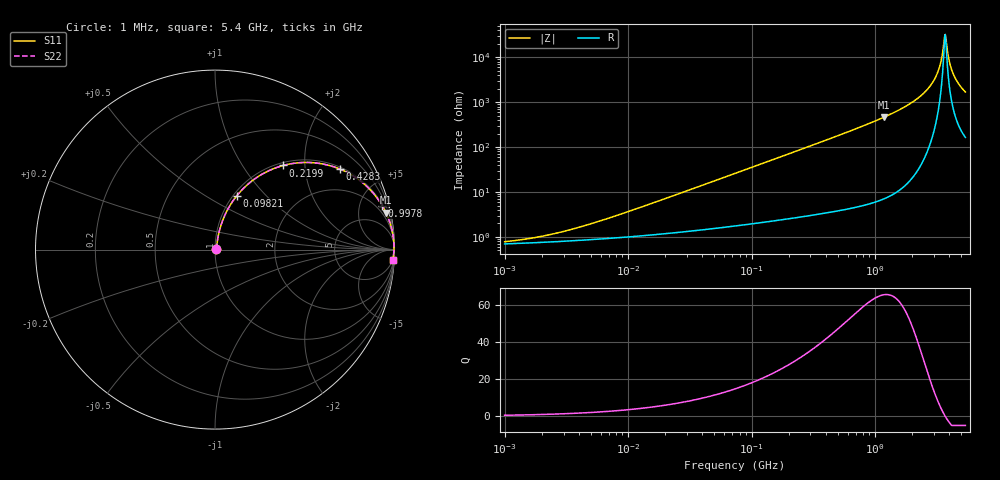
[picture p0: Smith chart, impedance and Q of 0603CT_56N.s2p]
# MHz  S  MA  R  50
!Freq  MagS11  AngS11  MagS21  AngS21  MagS12  AngS12  MagS22  AngS22
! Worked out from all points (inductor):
!   865 points, 1 MHz to 5.4 GHz, reference 50 ohm
!   read as one part in series: L = 56 nH near 8.162 MHz
!   highest Q = 65.8 at 1.182 GHz (marker M1), where L = 62.3 nH
!   self-resonance near 3.674 GHz
!   S11 on the Smith chart (normalised r, x): 1 MHz: 1.01, +0.01; 98.21 MHz: 1.04, +0.69; 219.9 MHz: 1.05, +1.55; 428.3 MHz: 1.07, +3.05; 997.8 MHz: 1.12, +7.57; 5.4 GHz: 4, -34
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1  0.00777 26.5  0.9931 -0.2  0.9931 -0.2  0.00777 26.5
4.190616  0.01685 59.4  0.9915 -0.8  0.9915 -0.8  0.01685 59.4
17.56126  0.06201 76.0  0.9869 -3.5  0.9869 -3.5  0.06201 76.0
73.59249  0.2473 71.8  0.9524 -14.3  0.9524 -14.3  0.2473 71.8
98.20946  0.3218 68.1  0.929 -18.7  0.929 -18.7  0.3218 68.1
219.8794  0.6036 51.0  0.7771 -37.1  0.7771 -37.1  0.6036 51.0
308.3978  0.7278 41.7  0.6658 -46.7  0.6658 -46.7  0.7278 41.7
428.269  0.828 32.8  0.542 -55.9  0.542 -55.9  0.828 32.8
997.7768  0.9631 14.7  0.2544 -74.4  0.2544 -74.4  0.9631 14.7
1181.671  0.9744 12.1  0.2105 -77.0  0.2105 -77.0  0.9744 12.1
1292.377  0.9791 10.9  0.1891 -78.2  0.1891 -78.2  0.9791 10.9
2042.548  0.9933 5.5  0.09617 -83.3  0.09617 -83.3  0.9933 5.5
2753.046  0.9967 2.6  0.04608 -84.6  0.04608 -84.6  0.9967 2.6
3228.163  0.9972 1.2  0.02126 -81.8  0.02126 -81.8  0.9972 1.2
3392.832  0.9972 0.8  0.01372 -77.7  0.01372 -77.7  0.9972 0.8
3601.56  0.997 0.2  0.005219 -55.2  0.005219 -55.2  0.997 0.2
3710.691  0.9969 -0.0  0.003097 4.9  0.003097 4.9  0.9969 -0.0
3823.128  0.9968 -0.3  0.005801 56.0  0.005801 56.0  0.9968 -0.3
4058.328  0.9964 -0.8  0.01439 75.0  0.01439 75.0  0.9964 -0.8
4307.997  0.9958 -1.3  0.02344 79.1  0.02344 79.1  0.9958 -1.3
4758.708  0.9947 -2.2  0.03883 81.0  0.03883 81.0  0.9947 -2.2
5400  0.9925 -3.4  0.0589 81.0  0.0589 81.0  0.9925 -3.4
